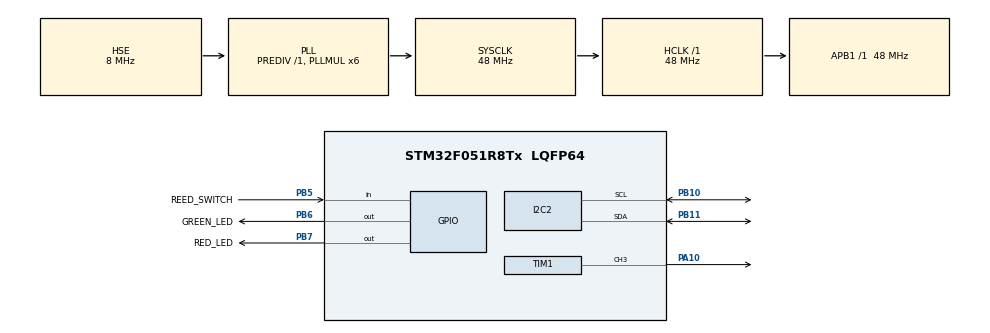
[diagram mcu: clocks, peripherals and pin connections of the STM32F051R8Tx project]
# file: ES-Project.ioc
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I2C2.Timing=0x10805D88
Mcu.Family=STM32F0
Mcu.Name=STM32F051R8Tx
Mcu.Package=LQFP64
PA10.Signal=S_TIM1_CH3
PA13.Mode=Serial_Wire
PA13.Signal=SYS_SWDIO
PA14.Mode=Serial_Wire
PA14.Signal=SYS_SWCLK
PB10.Mode=I2C
PB10.Signal=I2C2_SCL
PB11.Mode=I2C
PB11.Signal=I2C2_SDA
PB5.GPIO_Label=REED_SWITCH
PB5.Signal=GPIO_Input
PB6.GPIO_Label=GREEN_LED
PB6.Signal=GPIO_Output
PB7.GPIO_Label=RED_LED
PB7.Signal=GPIO_Output
PF0-OSC_IN.Mode=HSE-External-Oscillator
PF0-OSC_IN.Signal=RCC_OSC_IN
PF1-OSC_OUT.Mode=HSE-External-Oscillator
PF1-OSC_OUT.Signal=RCC_OSC_OUT
ProjectManager.HeapSize=0x200
ProjectManager.StackSize=0x400
ProjectManager.TargetToolchain=STM32CubeIDE
RCC.AHBFreq_Value=48000000
RCC.APB1Freq_Value=48000000
RCC.APB1TimFreq_Value=48000000
RCC.HCLKFreq_Value=48000000
RCC.PLLMUL=RCC_PLL_MUL6
RCC.PLLSourceVirtual=RCC_PLLSOURCE_HSE
RCC.SYSCLKFreq_VALUE=48000000
RCC.SYSCLKSource=RCC_SYSCLKSOURCE_PLLCLK
SH.S_TIM1_CH3.0=TIM1_CH3,PWM Generation3 CH3
TIM1.Channel-PWM\ Generation3\ CH3=TIM_CHANNEL_3
TIM1.Period=10000
TIM1.Prescaler=48000
TIM1.Pulse-PWM\ Generation3\ CH3=600
board=STM32F0DISCOVERY

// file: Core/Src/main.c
/* USER CODE BEGIN Header */
/**
  ******************************************************************************
  * @file           : main.c
  * @brief          : Main program body
  ******************************************************************************
  * @attention
  *
  * Copyright (c) 2024 STMicroelectronics.
  * All rights reserved.
  *
  * This software is licensed under terms that can be found in the LICENSE file
  * in the root directory of this software component.
  * If no LICENSE file comes with this software, it is provided AS-IS.
  *
  ******************************************************************************
  */
/* USER CODE END Header */
#include "main.h"
#include "i2c_lcd.h"

I2C_HandleTypeDef hi2c2;

TIM_HandleTypeDef htim1;

/* USER CODE BEGIN PV */
volatile uint8_t buzzer_active = 0; // Flag to control buzzer state
volatile uint16_t buzzer_timer = 0; // Timer counter for buzzer
/* USER CODE END PV */

void SystemClock_Config(void);
static void MX_GPIO_Init(void);
static void MX_I2C2_Init(void);
static void MX_TIM1_Init(void);
/* USER CODE BEGIN PFP */
void handle_buzzer_logic(void);
void handle_sensor_state(void);
void activate_buzzer(void);
void deactivate_buzzer(void);
void set_system_state(uint8_t is_open);
/* USER CODE END PFP */

/* USER CODE BEGIN 0 */

/**
 * @brief Activate the buzzer and ensure the RED LED stays ON.
 */
void activate_buzzer(void) {
    HAL_GPIO_WritePin(RED_LED_GPIO_Port, RED_LED_Pin, GPIO_PIN_SET); // Keep RED LED ON
    HAL_TIM_PWM_Start(&htim1, TIM_CHANNEL_3); // Start PWM for buzzer
    // Add code to activate the buzzer if needed
}

/**
 * @brief Deactivate the buzzer while ensuring the RED LED stays ON.
 */
void deactivate_buzzer(void) {
    HAL_GPIO_WritePin(RED_LED_GPIO_Port, RED_LED_Pin, GPIO_PIN_RESET); // Keep RED LED OFF
    HAL_TIM_PWM_Stop(&htim1, TIM_CHANNEL_3); // Stop PWM for buzzer
    // Add code to deactivate the buzzer if needed
}

/**
 * @brief Update the system state on the LCD and LEDs.
 * @param is_open: 1 if the system is "ON" (open), 0 if "OFF" (closed).
 */
void set_system_state(uint8_t is_open) {
	lcd_init();
    lcd_clear();
    lcd_put_cur(0, 0);
    lcd_clear();

    if (is_open) {

       	lcd_put_cur(0, 0);
        lcd_send_string("Door is open");
        HAL_GPIO_WritePin(RED_LED_GPIO_Port, RED_LED_Pin, GPIO_PIN_SET); // RED LED ON
        HAL_GPIO_WritePin(GREEN_LED_GPIO_Port, GREEN_LED_Pin, GPIO_PIN_RESET); // GREEN LED OFF
        activate_buzzer();
    } else {

       	lcd_put_cur(0, 0);
        lcd_send_string("Door is closed");
        HAL_GPIO_WritePin(RED_LED_GPIO_Port, RED_LED_Pin, GPIO_PIN_RESET); // RED LED OFF
        HAL_GPIO_WritePin(GREEN_LED_GPIO_Port, GREEN_LED_Pin, GPIO_PIN_SET); // GREEN LED ON
        deactivate_buzzer();
    }

    HAL_Delay(500);
    lcd_clear();
}

/**
 * @brief Handle the buzzer's active and inactive states based on timing.
 */

/**
 * @brief Handle the state of the reed switch and update the system accordingly.
 */
void handle_sensor_state(void) {
    if (HAL_GPIO_ReadPin(REED_SWITCH_GPIO_Port, REED_SWITCH_Pin) == GPIO_PIN_SET) {
        // Sensor detects a signal (door/window is open)
        set_system_state(1);
    } else {
        // Sensor does not detect a signal (door/window is closed)
        set_system_state(0);
    }
}

/* @brief Timer interrupt callback to manage periodic buzzer control.
* @param htim: Pointer to the timer handle.
*/

/* USER CODE END 0 */

int main(void)
{

  /* MCU Configuration--------------------------------------------------------*/

  /* Reset of all peripherals, Initializes the Flash interface and the Systick. */
  HAL_Init();

  /* Configure the system clock */
  SystemClock_Config();

  /* USER CODE BEGIN SysInit */
  HAL_TIM_Base_Start_IT(&htim1); // Start TIM1 in interrupt mode

  /* USER CODE END SysInit */

  /* Initialize all configured peripherals */
  MX_GPIO_Init();
  MX_I2C2_Init();
  MX_TIM1_Init();
  /* USER CODE BEGIN 2 */
  HAL_TIM_Base_Start_IT(&htim1); // Start TIM1 in interrupt mode

  /* USER CODE END 2 */

  /* Infinite loop */
  while (1)
  {
	  handle_sensor_state();

  }
  /* USER CODE END 3 */
}

void SystemClock_Config(void)
{
  RCC_OscInitTypeDef RCC_OscInitStruct = {0};
  RCC_ClkInitTypeDef RCC_ClkInitStruct = {0};

  /** Initializes the RCC Oscillators according to the specified parameters
  * in the RCC_OscInitTypeDef structure.
  */
  RCC_OscInitStruct.OscillatorType = RCC_OSCILLATORTYPE_HSE;
  RCC_OscInitStruct.HSEState = RCC_HSE_ON;
  RCC_OscInitStruct.PLL.PLLState = RCC_PLL_ON;
  RCC_OscInitStruct.PLL.PLLSource = RCC_PLLSOURCE_HSE;
  RCC_OscInitStruct.PLL.PLLMUL = RCC_PLL_MUL6;
  RCC_OscInitStruct.PLL.PREDIV = RCC_PREDIV_DIV1;
  if (HAL_RCC_OscConfig(&RCC_OscInitStruct) != HAL_OK)
  {
    Error_Handler();
  }

  /** Initializes the CPU, AHB and APB buses clocks
  */
  RCC_ClkInitStruct.ClockType = RCC_CLOCKTYPE_HCLK|RCC_CLOCKTYPE_SYSCLK
                              |RCC_CLOCKTYPE_PCLK1;
  RCC_ClkInitStruct.SYSCLKSource = RCC_SYSCLKSOURCE_PLLCLK;
  RCC_ClkInitStruct.AHBCLKDivider = RCC_SYSCLK_DIV1;
  RCC_ClkInitStruct.APB1CLKDivider = RCC_HCLK_DIV1;

  if (HAL_RCC_ClockConfig(&RCC_ClkInitStruct, FLASH_LATENCY_1) != HAL_OK)
  {
    Error_Handler();
  }
}

static void MX_I2C2_Init(void)
{

  hi2c2.Instance = I2C2;
  hi2c2.Init.Timing = 0x10805D88;
  hi2c2.Init.OwnAddress1 = 0;
  hi2c2.Init.AddressingMode = I2C_ADDRESSINGMODE_7BIT;
  hi2c2.Init.DualAddressMode = I2C_DUALADDRESS_DISABLE;
  hi2c2.Init.OwnAddress2 = 0;
  hi2c2.Init.OwnAddress2Masks = I2C_OA2_NOMASK;
  hi2c2.Init.GeneralCallMode = I2C_GENERALCALL_DISABLE;
  hi2c2.Init.NoStretchMode = I2C_NOSTRETCH_DISABLE;
  if (HAL_I2C_Init(&hi2c2) != HAL_OK)
  {
    Error_Handler();
  }

  /** Configure Analogue filter
  */
  if (HAL_I2CEx_ConfigAnalogFilter(&hi2c2, I2C_ANALOGFILTER_ENABLE) != HAL_OK)
  {
    Error_Handler();
  }

  /** Configure Digital filter
  */
  if (HAL_I2CEx_ConfigDigitalFilter(&hi2c2, 0) != HAL_OK)
  {
    Error_Handler();
  }

}

static void MX_TIM1_Init(void)
{

  TIM_MasterConfigTypeDef sMasterConfig = {0};
  TIM_OC_InitTypeDef sConfigOC = {0};
  TIM_BreakDeadTimeConfigTypeDef sBreakDeadTimeConfig = {0};

  htim1.Instance = TIM1;
  htim1.Init.Prescaler = 48000;
  htim1.Init.CounterMode = TIM_COUNTERMODE_UP;
  htim1.Init.Period = 15000;
  htim1.Init.ClockDivision = TIM_CLOCKDIVISION_DIV1;
  htim1.Init.RepetitionCounter = 0;
  htim1.Init.AutoReloadPreload = TIM_AUTORELOAD_PRELOAD_DISABLE;
  if (HAL_TIM_PWM_Init(&htim1) != HAL_OK)
  {
    Error_Handler();
  }
  sMasterConfig.MasterOutputTrigger = TIM_TRGO_RESET;
  sMasterConfig.MasterSlaveMode = TIM_MASTERSLAVEMODE_DISABLE;
  if (HAL_TIMEx_MasterConfigSynchronization(&htim1, &sMasterConfig) != HAL_OK)
  {
    Error_Handler();
  }
  sConfigOC.OCMode = TIM_OCMODE_PWM1;
  sConfigOC.Pulse = 5000;
  sConfigOC.OCPolarity = TIM_OCPOLARITY_HIGH;
  sConfigOC.OCNPolarity = TIM_OCNPOLARITY_HIGH;
  sConfigOC.OCFastMode = TIM_OCFAST_DISABLE;
  sConfigOC.OCIdleState = TIM_OCIDLESTATE_RESET;
  sConfigOC.OCNIdleState = TIM_OCNIDLESTATE_RESET;
  if (HAL_TIM_PWM_ConfigChannel(&htim1, &sConfigOC, TIM_CHANNEL_3) != HAL_OK)
  {
    Error_Handler();
  }
  sBreakDeadTimeConfig.OffStateRunMode = TIM_OSSR_DISABLE;
  sBreakDeadTimeConfig.OffStateIDLEMode = TIM_OSSI_DISABLE;
  sBreakDeadTimeConfig.LockLevel = TIM_LOCKLEVEL_OFF;
  sBreakDeadTimeConfig.DeadTime = 0;
  sBreakDeadTimeConfig.BreakState = TIM_BREAK_DISABLE;
  sBreakDeadTimeConfig.BreakPolarity = TIM_BREAKPOLARITY_HIGH;
  sBreakDeadTimeConfig.AutomaticOutput = TIM_AUTOMATICOUTPUT_DISABLE;
  if (HAL_TIMEx_ConfigBreakDeadTime(&htim1, &sBreakDeadTimeConfig) != HAL_OK)
  {
    Error_Handler();
  }
  HAL_TIM_MspPostInit(&htim1);

}

static void MX_GPIO_Init(void)
{
  GPIO_InitTypeDef GPIO_InitStruct = {0};

  /* GPIO Ports Clock Enable */
  __HAL_RCC_GPIOF_CLK_ENABLE();
  __HAL_RCC_GPIOB_CLK_ENABLE();
  __HAL_RCC_GPIOA_CLK_ENABLE();

  /*Configure GPIO pin Output Level */
  HAL_GPIO_WritePin(GPIOB, GREEN_LED_Pin|RED_LED_Pin, GPIO_PIN_RESET);

  /*Configure GPIO pin : REED_SWITCH_Pin */
  GPIO_InitStruct.Pin = REED_SWITCH_Pin;
  GPIO_InitStruct.Mode = GPIO_MODE_INPUT;
  GPIO_InitStruct.Pull = GPIO_NOPULL;
  HAL_GPIO_Init(REED_SWITCH_GPIO_Port, &GPIO_InitStruct);

  /*Configure GPIO pins : GREEN_LED_Pin RED_LED_Pin */
  GPIO_InitStruct.Pin = GREEN_LED_Pin|RED_LED_Pin;
  GPIO_InitStruct.Mode = GPIO_MODE_OUTPUT_PP;
  GPIO_InitStruct.Pull = GPIO_NOPULL;
  GPIO_InitStruct.Speed = GPIO_SPEED_FREQ_LOW;
  HAL_GPIO_Init(GPIOB, &GPIO_InitStruct);

}

void Error_Handler(void)
{
  __disable_irq();
  while (1)
  {
  }
}
